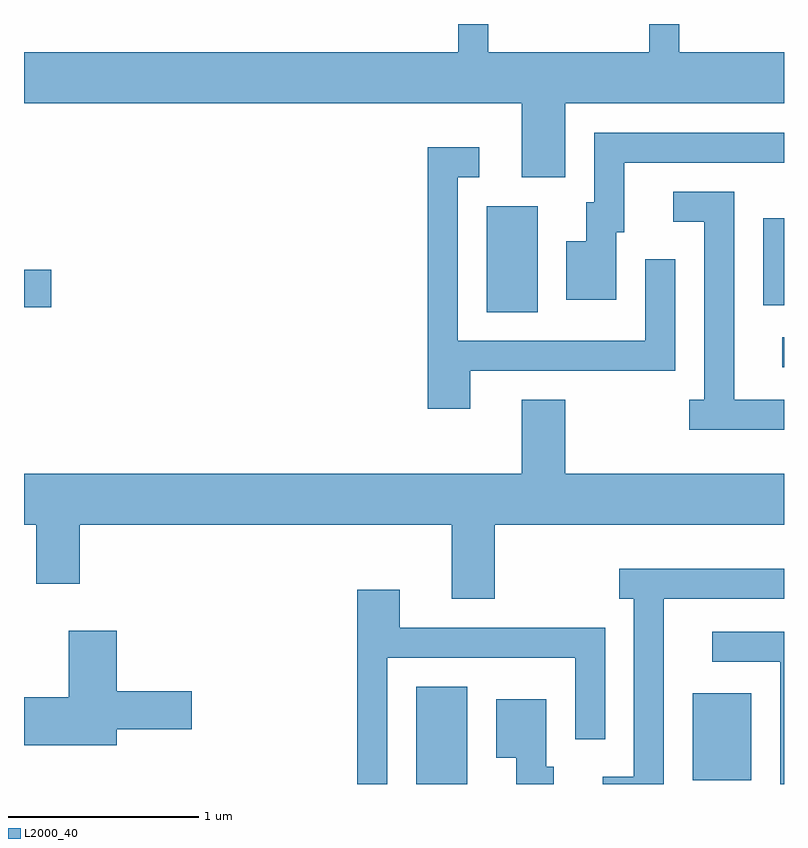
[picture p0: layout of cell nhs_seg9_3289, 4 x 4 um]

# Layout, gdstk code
import gdstk
lib = gdstk.Library(unit=1e-6, precision=1e-09)
def R(c, l, rs):  # rectangles x0, y0, x1, y1
    for r in rs: c.add(gdstk.rectangle(r[:2], r[2:], *l))
def P(c, l, *ps):  # polygons
    for p in ps: c.add(gdstk.Polygon(p, *l))
L2000_40 = (2000, 40)

nhs_seg9_3289 = lib.new_cell('nhs_seg9_3289')
R(nhs_seg9_3289, L2000_40, [(283.676,2010.432,283.944,2010.944), (285.131,2010.451,285.439,2010.909), (285.603,2012.626,285.611,2012.784), (284.046,2012.916,284.314,2013.474), (281.611,2012.941,281.754,2013.139), (285.501,2012.951,285.611,2013.409)])
P(nhs_seg9_3289, L2000_40, [(283.896,2014.432),(283.896,2014.284),(281.611,2014.284),(281.611,2014.016),(284.231,2014.016),(284.231,2013.626),(284.459,2013.626),(284.459,2014.016),(285.611,2014.016),(285.611,2014.284),(285.059,2014.284),(285.059,2014.432),(284.901,2014.432),(284.901,2014.284),(284.054,2014.284),(284.054,2014.432)],
  [(284.729,2013.336),(284.769,2013.336),(284.769,2013.701),(285.611,2013.701),(285.611,2013.859),(284.611,2013.859),(284.611,2013.494),(284.571,2013.494),(284.571,2013.289),(284.466,2013.289),(284.466,2012.981),(284.729,2012.981)],
  [(283.959,2012.606),(285.039,2012.606),(285.039,2013.193),(284.881,2013.193),(284.881,2012.764),(283.894,2012.764),(283.894,2013.626),(284.008,2013.626),(284.008,2013.784),(283.736,2013.784),(283.736,2012.406),(283.959,2012.406)],
  [(285.611,2012.454),(285.349,2012.454),(285.349,2013.549),(285.028,2013.549),(285.028,2013.391),(285.191,2013.391),(285.191,2012.454),(285.113,2012.454),(285.113,2012.296),(285.611,2012.296)],
  [(284.089,2011.796),(285.611,2011.796),(285.611,2012.064),(284.459,2012.064),(284.459,2012.454),(284.231,2012.454),(284.231,2012.064),(281.611,2012.064),(281.611,2011.796),(281.676,2011.796),(281.676,2011.486),(281.904,2011.486),(281.904,2011.796),(283.861,2011.796),(283.861,2011.406),(284.089,2011.406)],
  [(284.979,2011.406),(285.611,2011.406),(285.611,2011.564),(284.743,2011.564),(284.743,2011.406),(284.821,2011.406),(284.821,2010.469),(284.658,2010.469),(284.658,2010.432),(284.979,2010.432)],
  [(283.524,2011.096),(284.511,2011.096),(284.511,2010.668),(284.669,2010.668),(284.669,2011.254),(283.589,2011.254),(283.589,2011.454),(283.366,2011.454),(283.366,2010.432),(283.524,2010.432)],
  [(282.099,2010.721),(282.494,2010.721),(282.494,2010.919),(282.099,2010.919),(282.099,2011.239),(281.846,2011.239),(281.846,2010.889),(281.611,2010.889),(281.611,2010.636),(282.099,2010.636)],
  [(285.611,2011.234),(285.233,2011.234),(285.233,2011.076),(285.591,2011.076),(285.591,2010.432),(285.611,2010.432)],
  [(284.399,2010.524),(284.359,2010.524),(284.359,2010.879),(284.096,2010.879),(284.096,2010.571),(284.201,2010.571),(284.201,2010.432),(284.399,2010.432)])

lib.write_gds('nhs_seg9_3289.gds')
